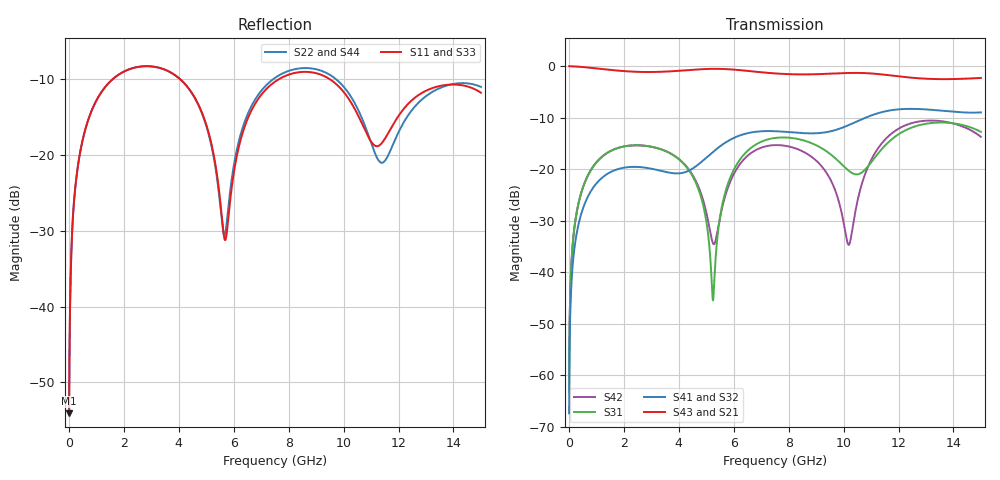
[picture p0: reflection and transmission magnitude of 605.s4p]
! Created with skrf 1.8.0 (http://scikit-rf.org).
# GHz S RI R 50.0
!freq ReS11 ImS11 ReS12 ImS12 ReS13 ImS13
! ReS14 ImS14
! ReS21 ImS21 ReS22 ImS22 ReS23 ImS23
! ReS24 ImS24
! ReS31 ImS31 ReS32 ImS32 ReS33 ImS33
! ReS34 ImS34
! ReS41 ImS41 ReS42 ImS42 ReS43 ImS43
! ReS44 ImS44
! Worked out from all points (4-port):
!   2499 points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, 5 MHz to 15 GHz, reference 50 ohm
!   strongest paths, dB at 5 MHz, 3.476 GHz, 7.19 GHz, 11.1 GHz, 15 GHz:
!     S43: 0.0, -1.1, -1.3, -1.5, -2.3
!     S21: 0.0, -1.1, -1.3, -1.5, -2.3
!     S41: -67.4, -20.5, -12.6, -9.4, -9.0
!     S32: -67.4, -20.5, -12.6, -9.4, -8.9
!     S31: -63.3, -16.4, -14.3, -18.0, -12.8
!     S42: -63.3, -16.4, -15.5, -17.3, -13.7
!   lowest |S11| = -54.1 dB at 5 MHz (marker M1), VSWR 1.00, Z = 50.2 + j0.12 ohm
!   |S11| at or under -10 dB: start of sweep to 1.579 GHz; 4.063 GHz to 7.624 GHz (3.562 GHz wide, 61 % of centre); 9.515 GHz to end of sweep
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0.005  0.00158 0.00119  0.9984 -0.00308  8.11e-05 0.000682  -7.84e-05 -0.000419
       0.9984 -0.00308  0.00158 0.00119  -7.84e-05 -0.000419  8.11e-05 0.000682
       8.11e-05 0.000682  -7.84e-05 -0.000419  0.00158 0.00119  0.9984 -0.00308
       -7.84e-05 -0.000419  8.11e-05 0.000682  0.9984 -0.00308  0.00158 0.00119
0.3126303  0.0226 0.0787  0.9691 -0.1915  0.0111 0.0407  -0.00916 -0.0247
           0.9691 -0.1915  0.0226 0.0787  -0.00916 -0.0247  0.0111 0.0407
           0.0111 0.0407  -0.00916 -0.0247  0.0226 0.0787  0.9691 -0.1916
           -0.00916 -0.0247  0.0111 0.0407  0.9691 -0.1916  0.0226 0.0787
1.519383  0.2503 0.1813  0.5875 -0.7048  0.1314 0.0729  -0.0929 -0.0126
          0.5875 -0.7048  0.2505 0.1812  -0.0929 -0.0126  0.131 0.0733
          0.1314 0.0729  -0.0929 -0.0126  0.2504 0.1814  0.5875 -0.7048
          -0.0929 -0.0126  0.131 0.0733  0.5875 -0.7048  0.2506 0.1812
5.245936  0.0492 -0.0937  -0.89 -0.3046  0.0053 0.000448  -0.0433 0.1407
          -0.89 -0.3046  0.0495 -0.0897  -0.0432 0.1407  -0.0178 -0.00659
          0.0053 0.000448  -0.0432 0.1407  0.05 -0.0957  -0.8897 -0.3048
          -0.0433 0.1407  -0.0178 -0.00659  -0.8897 -0.3048  0.0502 -0.0917
8.897457  0.3499 -0.0316  0.0326 0.8319  0.1184 -0.1297  0.2131 -0.0638
          0.0326 0.8319  0.3683 -0.0574  0.2128 -0.0635  0.1171 -0.0512
          0.1184 -0.1297  0.2128 -0.0635  0.3486 -0.0339  0.0345 0.8322
          0.2131 -0.0638  0.1171 -0.0512  0.0345 0.8322  0.3672 -0.0567
10.18549  0.1996 -0.1256  0.5696 0.6406  -0.0595 -0.076  0.1948 -0.1832
          0.5696 0.6406  0.1968 -0.1646  0.1953 -0.1827  -0.015 -0.0106
          -0.0595 -0.076  0.1953 -0.1827  0.196 -0.1276  0.5722 0.6387
          0.1948 -0.1832  -0.015 -0.0106  0.5722 0.6387  0.1973 -0.1622
15  0.2366 -0.1047  -0.0738 -0.7673  0.1698 -0.155  -0.3377 0.1104
    -0.0738 -0.7673  0.2633 -0.1028  -0.3391 0.112  0.1847 -0.0908
    0.1698 -0.155  -0.3391 0.112  0.246 -0.1032  -0.0803 -0.7633
    -0.3377 0.1104  0.1847 -0.0908  -0.0803 -0.7633  0.2722 -0.1121
